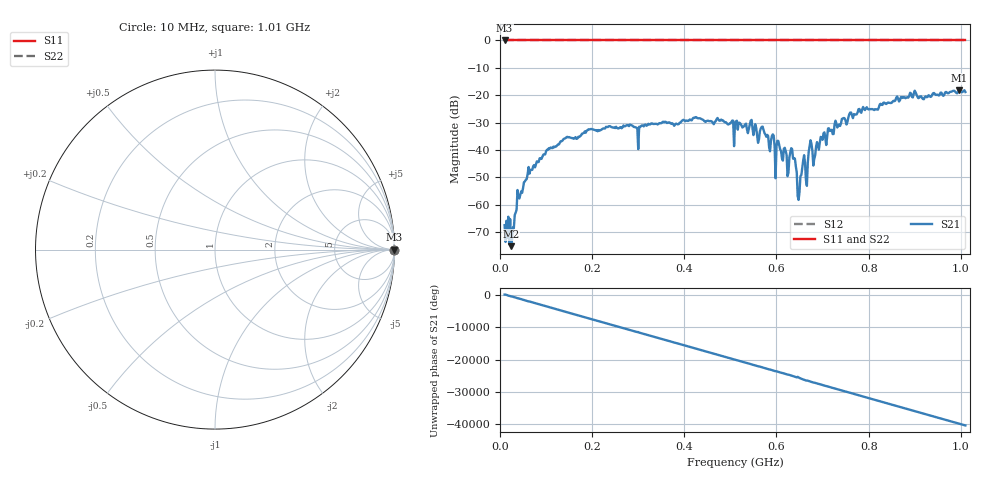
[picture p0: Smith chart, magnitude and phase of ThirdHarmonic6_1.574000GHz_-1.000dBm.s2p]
! 8/16/2025 6:43:33 PM
! C:\ANRITSUVNA\TEMP\TEMP.S2P
! CHANNEL.1
! TR.MEASUREMENT
! RAW.DATA
! RF.CORRECTION.OFF
! AVERAGING.OFF
! IF.BANDWIDTH: 5KHZ
! SWEEPTYPE:  FREQ.SWEEP(Linear)
! Reference Plane Port Info
! PORT:  PORT1  PORT2
! DISTANCE:  0  m  0  m
! TIME:  0  s  0  s
! PHASE.OFFSET:  0  deg.  0  deg.
! LOSS:  0  dB  0  dB
! REF.LOSS:  0  dB  0  dB
! REF.FREQ:  0  Hz  0  Hz
! Power Info
! POWER:  -20  dBm  -20  dBm
! EFF.POWER:  -20  dBm  -20  dBm
! SOURCE.ATTEN:  0  dB  0  dB
! TEST.ATTEN:  0  dB  0  dB
# GHZ S RI R 50.0
! FREQ.GHZ  S11RE  S11IM  S21RE  S21IM  S12RE  S12IM  S22RE  S22IM
!; PortSelection: Port_12
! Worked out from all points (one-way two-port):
!   501 points, 10 MHz to 1.01 GHz, reference 50 ohm
!   highest |S21| = -18.20 dB at 996 MHz (marker M1); lowest = -75.2 dB at 24 MHz (marker M2)
!   lowest |S11| = 0.0 dB at 10 MHz (marker M3)
!   |S11| at or under -10 dB: nowhere
!   |S22| runs from 0.0 to 0.0 dB; largest |S21 - S12| = 1.1
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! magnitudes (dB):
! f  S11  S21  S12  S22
! 10 MHz  0.0  -67.5  0.0  0.0
! 24 MHz  0.0  -75.2  0.0  0.0
! 42 MHz  0.0  -57.8  0.0  0.0
! 64 MHz  0.0  -48.7  0.0  0.0
! 106 MHz  0.0  -39.4  0.0  0.0
! 178 MHz  0.0  -34.1  0.0  0.0
! 344 MHz  0.0  -30.5  0.0  0.0
! 424 MHz  0.0  -28.0  0.0  0.0
! 510 MHz  0.0  -30.2  0.0  0.0
! 562 MHz  0.0  -36.1  0.0  0.0
! 570 MHz  0.0  -31.5  0.0  0.0
! 624 MHz  0.0  -49.6  0.0  0.0
! 634 MHz  0.0  -39.7  0.0  0.0
! 650 MHz  0.0  -55.4  0.0  0.0
! 658 MHz  0.0  -43.8  0.0  0.0
! 666 MHz  0.0  -53.1  0.0  0.0
! 672 MHz  0.0  -38.5  0.0  0.0
! 678 MHz  0.0  -40.5  0.0  0.0
! 760 MHz  0.0  -26.4  0.0  0.0
! 844 MHz  0.0  -22.8  0.0  0.0
! 996 MHz  0.0  -18.2  0.0  0.0
! 1.01 GHz  0.0  -18.8  0.0  0.0
